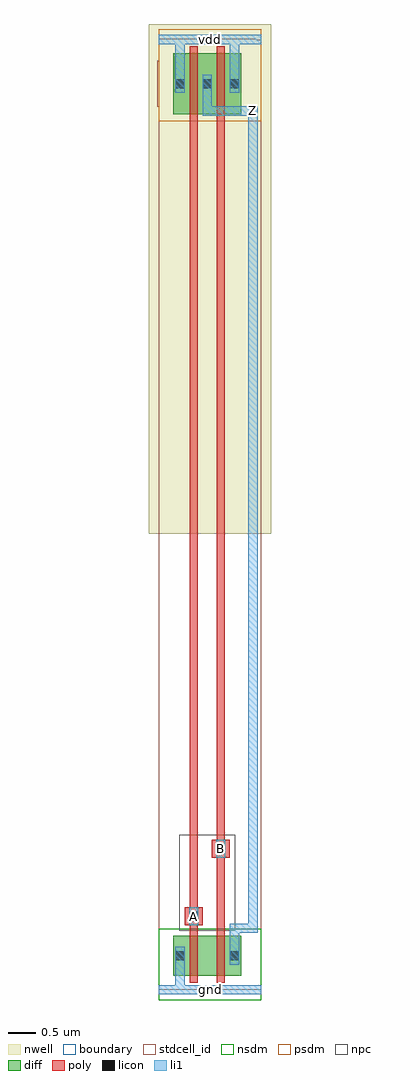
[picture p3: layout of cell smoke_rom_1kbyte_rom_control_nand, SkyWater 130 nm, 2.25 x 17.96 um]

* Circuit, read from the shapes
.subckt smoke_rom_1kbyte_rom_control_nand A B Z gnd vdd
XM1 smoke_rom_1kbyte_nmos_m1_w0_740_sli_dactive_2/D A gnd VSUBS sky130_fd_pr__nfet_01v8 w=0.74 l=0.15
XM2 Z B smoke_rom_1kbyte_nmos_m1_w0_740_sli_dactive_2/D VSUBS sky130_fd_pr__nfet_01v8 w=0.74 l=0.15
XM3 Z A vdd n1 sky130_fd_pr__pfet_01v8 w=1.12 l=0.15
XM4 vdd B Z n1 sky130_fd_pr__pfet_01v8 w=1.12 l=0.15
.ends

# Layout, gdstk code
import gdstk
lib = gdstk.Library(unit=1e-6, precision=1e-09)
def R(c, l, rs):  # rectangles x0, y0, x1, y1
    for r in rs: c.add(gdstk.rectangle(r[:2], r[2:], *l))
nwell = (64, 20)
diff = (65, 20)
poly = (66, 20)
licon = (66, 44)
li1 = (67, 20)
stdcell_id = (81, 4)
nsdm = (93, 44)
psdm = (94, 20)
npc = (95, 20)
boundary = (235, 4)

smoke_rom_1kbyte_contact = lib.new_cell('smoke_rom_1kbyte_contact_10')
R(smoke_rom_1kbyte_contact, nwell, [(-0.295,-0.255,0.545,0.585)])
R(smoke_rom_1kbyte_contact, diff, [(0,0.02,0.25,0.31)])
R(smoke_rom_1kbyte_contact, licon, [(0.04,0.08,0.21,0.25)])
R(smoke_rom_1kbyte_contact, li1, [(0.04,0,0.21,0.33)])
R(smoke_rom_1kbyte_contact, stdcell_id, [(-0.295,-0.255,0.545,0.585)])
R(smoke_rom_1kbyte_contact, psdm, [(-0.125,-0.105,0.375,0.435)])
R(smoke_rom_1kbyte_contact, boundary, [(-0.295,-0.255,0.545,0.585)])

smoke_rom_1kbyte_pmos_m1 = lib.new_cell('smoke_rom_1kbyte_pmos_m1_w1_120_sli_dli')
R(smoke_rom_1kbyte_pmos_m1, nwell, [(-0.27,-0.27,1.02,1.39)])
R(smoke_rom_1kbyte_pmos_m1, diff, [(0,0,0.75,1.12)])
R(smoke_rom_1kbyte_pmos_m1, poly, [(0.3,-0.13,0.45,1.25), (0.3,-0.13,0.45,1.25)])
R(smoke_rom_1kbyte_pmos_m1, li1, [(0.04,0.395,0.21,0.725), (0.54,0.395,0.71,0.725)])
R(smoke_rom_1kbyte_pmos_m1, stdcell_id, [(-0.27,-0.27,1.02,1.39)])
R(smoke_rom_1kbyte_pmos_m1, psdm, [(-0.125,-0.125,0.875,1.245)])
R(smoke_rom_1kbyte_pmos_m1, boundary, [(-0.27,-0.27,1.02,1.39)])
smoke_rom_1kbyte_pmos_m1.add(gdstk.Reference(smoke_rom_1kbyte_contact, (0,0.395)))
smoke_rom_1kbyte_pmos_m1.add(gdstk.Reference(smoke_rom_1kbyte_contact, (0.5,0.395)))
smoke_rom_1kbyte_pmos_m1.add(gdstk.Label('G', (0.375,0.56), layer=66, texttype=5))
smoke_rom_1kbyte_pmos_m1.add(gdstk.Label('S', (0.125,0.56), layer=67, texttype=5))
smoke_rom_1kbyte_pmos_m1.add(gdstk.Label('D', (0.625,0.56), layer=67, texttype=5))

c_smoke_rom_1kbyte_contact = lib.new_cell('smoke_rom_1kbyte_contact_8')
R(c_smoke_rom_1kbyte_contact, diff, [(0,0.02,0.25,0.31)])
R(c_smoke_rom_1kbyte_contact, licon, [(0.04,0.08,0.21,0.25)])
R(c_smoke_rom_1kbyte_contact, li1, [(0.04,0,0.21,0.33)])
R(c_smoke_rom_1kbyte_contact, stdcell_id, [(-0.125,-0.105,0.375,0.435)])
R(c_smoke_rom_1kbyte_contact, nsdm, [(-0.125,-0.105,0.375,0.435)])
R(c_smoke_rom_1kbyte_contact, boundary, [(-0.125,-0.105,0.375,0.435)])

smoke_rom_1kbyte_nmos_m1 = lib.new_cell('smoke_rom_1kbyte_nmos_m1_w0_740_sli_dactive')
R(smoke_rom_1kbyte_nmos_m1, diff, [(0,0,0.75,0.74), (0.55,0.295,0.7,0.445)])
R(smoke_rom_1kbyte_nmos_m1, poly, [(0.3,-0.13,0.45,0.87), (0.3,-0.13,0.45,0.87)])
R(smoke_rom_1kbyte_nmos_m1, li1, [(0.04,0.205,0.21,0.535)])
R(smoke_rom_1kbyte_nmos_m1, stdcell_id, [(-0.125,-0.13,0.875,0.87)])
R(smoke_rom_1kbyte_nmos_m1, nsdm, [(-0.125,-0.125,0.875,0.865)])
R(smoke_rom_1kbyte_nmos_m1, boundary, [(-0.125,-0.13,0.875,0.87)])
smoke_rom_1kbyte_nmos_m1.add(gdstk.Reference(c_smoke_rom_1kbyte_contact, (0,0.205)))
smoke_rom_1kbyte_nmos_m1.add(gdstk.Label('G', (0.375,0.37), layer=66, texttype=5))
smoke_rom_1kbyte_nmos_m1.add(gdstk.Label('S', (0.125,0.37), layer=67, texttype=5))
smoke_rom_1kbyte_nmos_m1.add(gdstk.Label('D', (0.625,0.37), layer=65, texttype=5))

c_smoke_rom_1kbyte_nmos_m1 = lib.new_cell('smoke_rom_1kbyte_nmos_m1_w0_740_sactive_dli')
R(c_smoke_rom_1kbyte_nmos_m1, diff, [(0,0,0.75,0.74), (0.05,0.295,0.2,0.445)])
R(c_smoke_rom_1kbyte_nmos_m1, poly, [(0.3,-0.13,0.45,0.87), (0.3,-0.13,0.45,0.87)])
R(c_smoke_rom_1kbyte_nmos_m1, li1, [(0.54,0.205,0.71,0.535)])
R(c_smoke_rom_1kbyte_nmos_m1, stdcell_id, [(-0.125,-0.13,0.875,0.87)])
R(c_smoke_rom_1kbyte_nmos_m1, nsdm, [(-0.125,-0.125,0.875,0.865)])
R(c_smoke_rom_1kbyte_nmos_m1, boundary, [(-0.125,-0.13,0.875,0.87)])
c_smoke_rom_1kbyte_nmos_m1.add(gdstk.Reference(c_smoke_rom_1kbyte_contact, (0.5,0.205)))
c_smoke_rom_1kbyte_nmos_m1.add(gdstk.Label('G', (0.375,0.37), layer=66, texttype=5))
c_smoke_rom_1kbyte_nmos_m1.add(gdstk.Label('S', (0.125,0.37), layer=65, texttype=5))
c_smoke_rom_1kbyte_nmos_m1.add(gdstk.Label('D', (0.625,0.37), layer=67, texttype=5))

c_smoke_rom_1kbyte_contact_ = lib.new_cell('smoke_rom_1kbyte_contact_11')
R(c_smoke_rom_1kbyte_contact_, poly, [(0,0,0.33,0.33)])
R(c_smoke_rom_1kbyte_contact_, licon, [(0.08,0.08,0.25,0.25)])
R(c_smoke_rom_1kbyte_contact_, li1, [(0.08,0,0.25,0.33)])
R(c_smoke_rom_1kbyte_contact_, stdcell_id, [(-0.1,-0.1,0.43,0.43)])
R(c_smoke_rom_1kbyte_contact_, npc, [(-0.1,-0.1,0.43,0.43)])
R(c_smoke_rom_1kbyte_contact_, boundary, [(-0.1,-0.1,0.43,0.43)])

smoke_rom_1kbyte_rom_con = lib.new_cell('smoke_rom_1kbyte_rom_control_nand')
R(smoke_rom_1kbyte_rom_con, nwell, [(-0.18,8.39,2.07,17.77)])
R(smoke_rom_1kbyte_rom_con, poly, [(0.57,1.125,0.72,15.98), (1.07,1.125,1.22,15.98), (0.57,1.185,0.645,1.515), (1.07,2.425,1.145,2.755)])
R(smoke_rom_1kbyte_rom_con, li1, [(0,-0.085,1.89,0.085), (0.31,-0.085,0.48,0.46), (1.31,0.79,1.48,1.13), (1.31,1.045,1.48,1.215), (1.395,1.045,1.735,1.215), (1.65,1.045,1.82,1.215), (1.65,1.13,1.82,16.17), (0.56,1.185,0.73,1.515), (1.06,2.425,1.23,2.755), (0.81,16.085,0.98,16.255), (0.895,16.085,1.735,16.255), (1.65,16.085,1.82,16.255), (0.81,16.17,0.98,16.505), (0.31,16.505,0.48,17.57), (1.31,16.505,1.48,17.57), (0,17.4,1.89,17.57)])
R(smoke_rom_1kbyte_rom_con, stdcell_id, [(0,0,1.89,17.48), (0,0,1.89,17.48)])
R(smoke_rom_1kbyte_rom_con, nsdm, [(0,-0.19,1.89,0.19), (0,0,1.89,1.12)])
R(smoke_rom_1kbyte_rom_con, psdm, [(0,15.985,1.89,17.485), (0,17.29,1.89,17.67)])
R(smoke_rom_1kbyte_rom_con, npc, [(0.38,1.085,1.41,2.855)])
R(smoke_rom_1kbyte_rom_con, boundary, [(0,0,1.89,17.48), (0,0,1.89,17.48)])
smoke_rom_1kbyte_rom_con.add(gdstk.Reference(smoke_rom_1kbyte_pmos_m1, (0.27,16.11)))
smoke_rom_1kbyte_rom_con.add(gdstk.Reference(smoke_rom_1kbyte_pmos_m1, (0.77,16.11)))
smoke_rom_1kbyte_rom_con.add(gdstk.Reference(smoke_rom_1kbyte_nmos_m1, (0.27,0.255)))
smoke_rom_1kbyte_rom_con.add(gdstk.Reference(c_smoke_rom_1kbyte_nmos_m1, (0.77,0.255)))
smoke_rom_1kbyte_rom_con.add(gdstk.Reference(c_smoke_rom_1kbyte_contact_, (0.48,1.185)))
smoke_rom_1kbyte_rom_con.add(gdstk.Reference(c_smoke_rom_1kbyte_contact_, (0.98,2.425)))
smoke_rom_1kbyte_rom_con.add(gdstk.Label('Z', (1.735,16.17), layer=67, texttype=5))
smoke_rom_1kbyte_rom_con.add(gdstk.Label('gnd', (0.945,0), layer=67, texttype=5))
smoke_rom_1kbyte_rom_con.add(gdstk.Label('vdd', (0.945,17.485), layer=67, texttype=5))
smoke_rom_1kbyte_rom_con.add(gdstk.Label('A', (0.645,1.35), layer=67, texttype=5))
smoke_rom_1kbyte_rom_con.add(gdstk.Label('B', (1.145,2.59), layer=67, texttype=5))

lib.write_gds('smoke_rom_1kbyte_rom_control_nand.gds')
